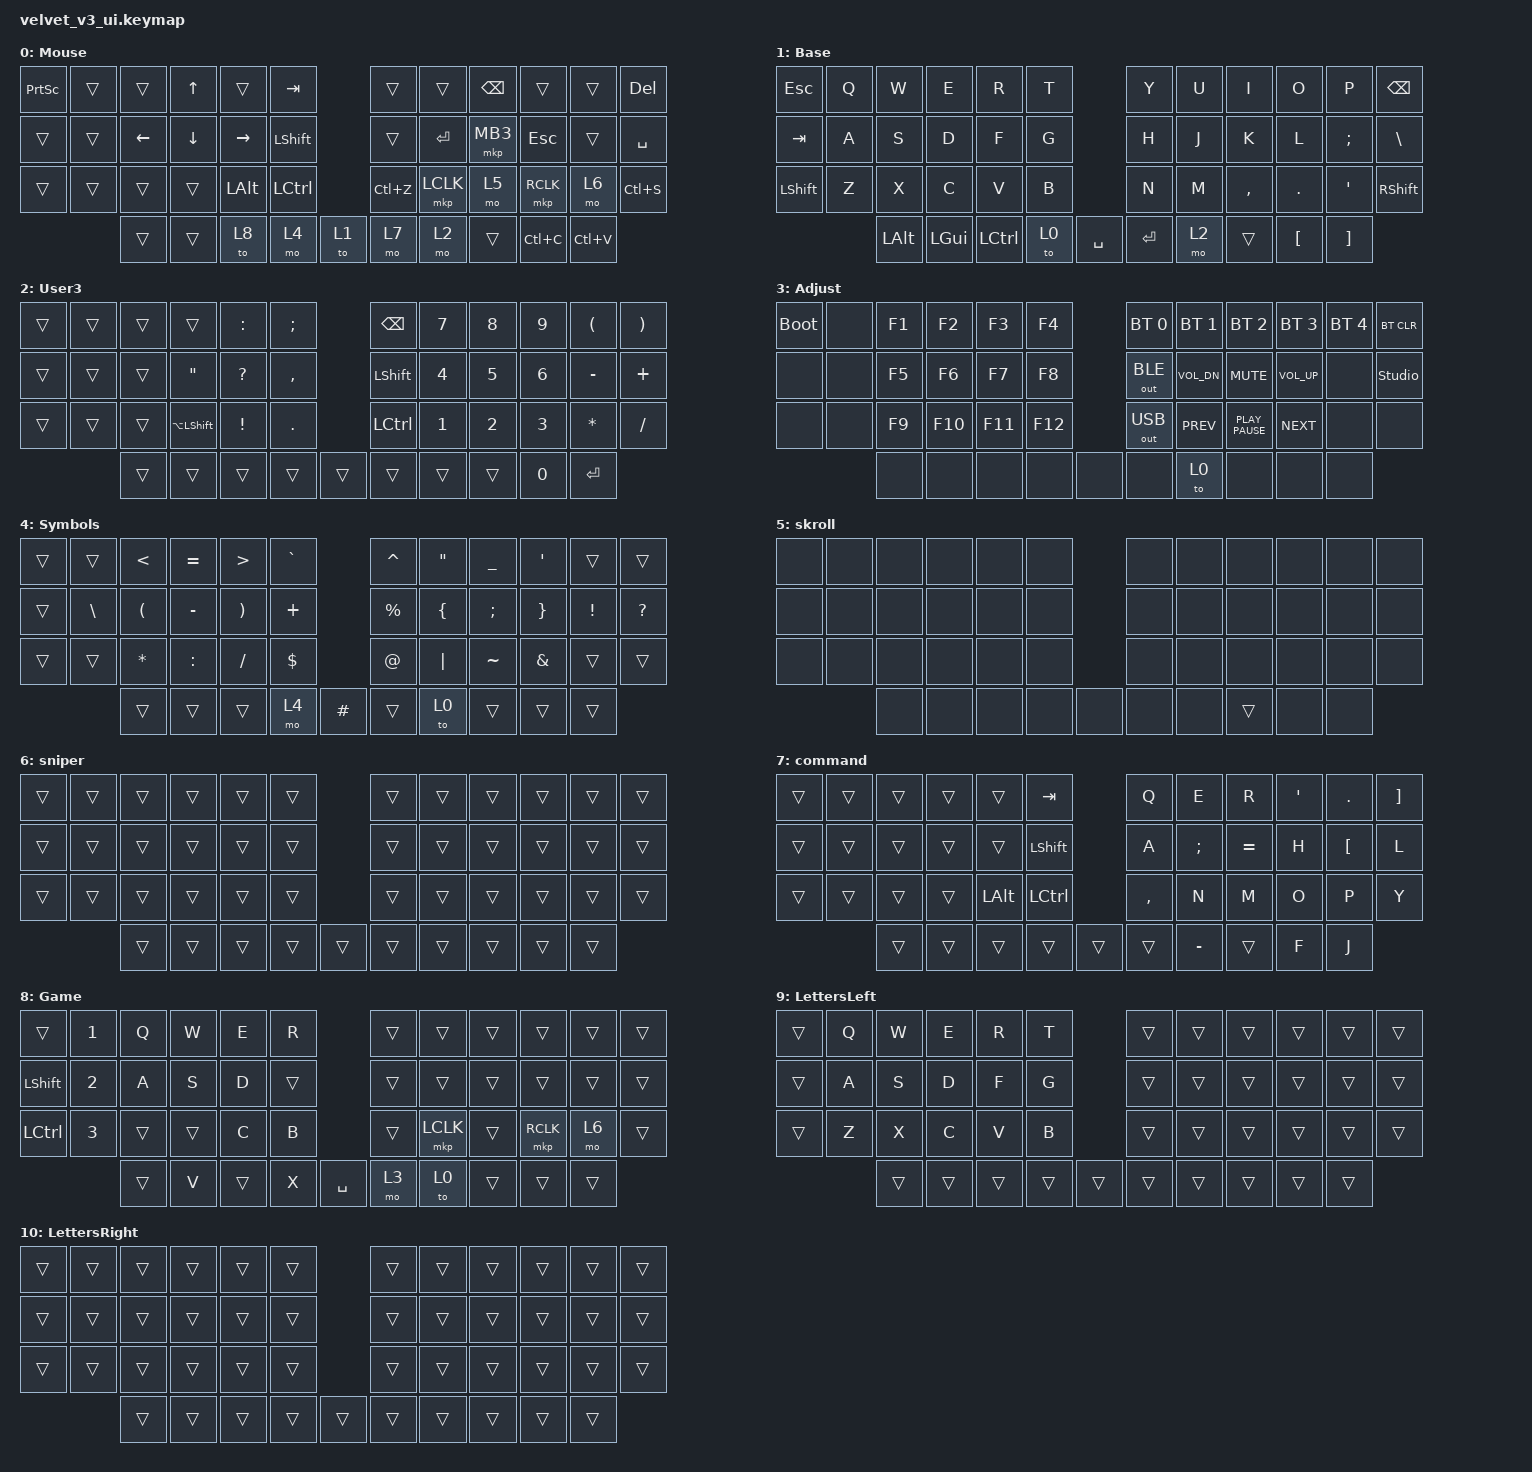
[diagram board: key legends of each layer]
#include "keys_ru.h"
#include <dt-bindings/zmk/input_transform.h>
#include <input/processors.dtsi>
#include <zephyr/dt-bindings/input/input-event-codes.h>
#include <behaviors.dtsi>
#include <dt-bindings/zmk/bt.h>
#include <dt-bindings/zmk/keys.h>
#include <dt-bindings/zmk/outputs.h>
#include <dt-bindings/zmk/pointing.h>

/ {
    behaviors {
        cap_sen: cap_sen {
            compatible = "zmk,behavior-hold-tap";
            label = "CAP_SEN";
            bindings = <&mo>, <&mkp>;

            #binding-cells = <2>;
            tapping-term-ms = <150>;
            hold-while-undecided;
        };
    };

    keymap {
        compatible = "zmk,keymap";

        mouse {
            bindings = <
&kp PRINTSCREEN  &trans  &trans          &kp UP          &trans           &kp TAB                         &trans     &trans     &kp BACKSPACE  &trans     &trans  &kp DELETE
&trans           &trans  &kp LEFT_ARROW  &kp DOWN_ARROW  &kp RIGHT_ARROW  &kp LEFT_SHIFT                  &trans     &kp ENTER  &mkp MB3       &kp ESC    &trans  &kp SPACE
&trans           &trans  &trans          &trans          &kp LEFT_ALT     &kp LCTRL                       &kp LC(Z)  &mkp LCLK  &mo 5          &mkp RCLK  &mo 6   &kp LC(S)
                         &trans          &trans          &to 8            &mo 4           &to 1    &mo 7  &mo 2      &trans     &kp LC(C)      &kp LC(V)
            >;

            display-name = "Mouse";
        };

        base {
            bindings = <
&kp ESC    &kp Q  &kp W     &kp E     &kp R      &kp T                        &kp Y  &kp U   &kp I      &kp O     &kp P     &kp BSPC
&kp TAB    &kp A  &kp S     &kp D     &kp F      &kp G                        &kp H  &kp J   &kp K      &kp L     &kp SEMI  &kp BSLH
&kp LSHFT  &kp Z  &kp X     &kp C     &kp V      &kp B                        &kp N  &kp M   &kp COMMA  &kp DOT   &kp SQT   &kp RSHFT
                  &kp LALT  &kp LGUI  &kp LCTRL  &to 0  &kp SPACE    &kp RET  &mo 2  &trans  &kp LBKT   &kp RBKT
            >;

            display-name = "Base";
        };

        Calculate {
            bindings = <
&trans  &trans  &trans  &trans              &kp COLON  &kp SEMI                     &kp BACKSPACE   &kp N7  &kp N8  &kp N9     &kp LEFT_PARENTHESIS  &kp RIGHT_PARENTHESIS
&trans  &trans  &trans  &kp DQT             &kp QMARK  &kp COMMA                    &kp LEFT_SHIFT  &kp N4  &kp N5  &kp N6     &kp MINUS             &kp PLUS
&trans  &trans  &trans  &kp LA(LEFT_SHIFT)  &kp EXCL   &kp DOT                      &kp LCTRL       &kp N1  &kp N2  &kp N3     &kp ASTERISK          &kp SLASH
                &trans  &trans              &trans     &trans     &trans    &trans  &trans          &trans  &kp N0  &kp ENTER
            >;

            display-name = "User3";
        };

        adj {
            bindings = <
&bootloader  &none  &kp F1  &kp F2   &kp F3   &kp F4                   &bt BT_SEL 0  &bt BT_SEL 1  &bt BT_SEL 2      &bt BT_SEL 3  &bt BT_SEL 4  &bt BT_CLR
&none        &none  &kp F5  &kp F6   &kp F7   &kp F8                   &out OUT_BLE  &kp C_VOL_DN  &kp K_MUTE        &kp C_VOL_UP  &none         &studio_unlock
&none        &none  &kp F9  &kp F10  &kp F11  &kp F12                  &out OUT_USB  &kp K_PREV    &kp K_PLAY_PAUSE  &kp K_NEXT    &none         &none
                    &none   &none    &none    &none    &none    &none  &to 0         &none         &none             &none
            >;

            display-name = "Adjust";
        };

        sym {
            bindings = <
&trans  &trans    &kp LT    &kp EQUAL  &kp GT    &kp GRAVE                      &kp CARET  &kp DQT   &kp UNDER  &kp SQT   &trans    &trans
&trans  &kp BSLH  &kp LPAR  &kp MINUS  &kp RPAR  &kp PLUS                       &kp PRCNT  &kp LBRC  &kp SEMI   &kp RBRC  &kp EXCL  &kp QUESTION
&trans  &trans    &kp STAR  &kp COLON  &kp FSLH  &kp DLLR                       &kp AT     &kp PIPE  &kp TILDE  &kp AMPS  &trans    &trans
                  &trans    &trans     &trans    &mo 4      &kp HASH    &trans  &to 0      &trans    &trans     &trans
            >;

            display-name = "Symbols";
        };

        skroll {
            bindings = <
&none  &none  &none  &none  &none  &none                  &none  &none   &none  &none  &none  &none
&none  &none  &none  &none  &none  &none                  &none  &none   &none  &none  &none  &none
&none  &none  &none  &none  &none  &none                  &none  &none   &none  &none  &none  &none
              &none  &none  &none  &none  &none    &none  &none  &trans  &none  &none
            >;
        };

        sniper {
            bindings = <
&trans  &trans  &trans  &trans  &trans  &trans                    &trans  &trans  &trans  &trans  &trans  &trans
&trans  &trans  &trans  &trans  &trans  &trans                    &trans  &trans  &trans  &trans  &trans  &trans
&trans  &trans  &trans  &trans  &trans  &trans                    &trans  &trans  &trans  &trans  &trans  &trans
                &trans  &trans  &trans  &trans  &trans    &trans  &trans  &trans  &trans  &trans
            >;
        };

        command {
            bindings = <
&trans  &trans  &trans  &trans  &trans        &kp TAB                           &kp Q      &kp E     &kp R      &kp SQT  &kp DOT           &kp RIGHT_BRACKET
&trans  &trans  &trans  &trans  &trans        &kp LEFT_SHIFT                    &kp A      &kp SEMI  &kp EQUAL  &kp H    &kp LEFT_BRACKET  &kp L
&trans  &trans  &trans  &trans  &kp LEFT_ALT  &kp LCTRL                         &kp COMMA  &kp N     &kp M      &kp O    &kp P             &kp Y
                &trans  &trans  &trans        &trans          &trans    &trans  &kp MINUS  &trans    &kp F      &kp J
            >;
        };

        Game {
            bindings = <
&trans          &kp N1        &kp Q   &kp W   &kp E   &kp R                       &trans  &trans     &trans  &trans     &trans  &trans
&kp LEFT_SHIFT  &kp N2        &kp A   &kp S   &kp D   &trans                      &trans  &trans     &trans  &trans     &trans  &trans
&kp LCTRL       &kp NUMBER_3  &trans  &trans  &kp C   &kp B                       &trans  &mkp LCLK  &trans  &mkp RCLK  &mo 6   &trans
                              &trans  &kp V   &trans  &kp X   &kp SPACE    &mo 3  &to 0   &trans     &trans  &trans
            >;
        };

        LettersLeft {
            bindings = <
&trans  &kp Q  &kp W   &kp E   &kp R   &kp T                     &trans  &trans  &trans  &trans  &trans  &trans
&trans  &kp A  &kp S   &kp D   &kp F   &kp G                     &trans  &trans  &trans  &trans  &trans  &trans
&trans  &kp Z  &kp X   &kp C   &kp V   &kp B                     &trans  &trans  &trans  &trans  &trans  &trans
               &trans  &trans  &trans  &trans  &trans    &trans  &trans  &trans  &trans  &trans
            >;
        };

        LettersRight {
            bindings = <
&trans  &trans  &trans  &trans  &trans  &trans                    &trans  &trans  &trans  &trans  &trans  &trans
&trans  &trans  &trans  &trans  &trans  &trans                    &trans  &trans  &trans  &trans  &trans  &trans
&trans  &trans  &trans  &trans  &trans  &trans                    &trans  &trans  &trans  &trans  &trans  &trans
                &trans  &trans  &trans  &trans  &trans    &trans  &trans  &trans  &trans  &trans
            >;
        };
    };
};

&trackball { cpi = <1200>; };

&trackball_listener {
    input-processors = <&zip_xy_scaler 9 20>;

    scroller {
        layers = <5>;
        input-processors =
            <&zip_xy_transform INPUT_TRANSFORM_Y_INVERT>,
            <&zip_xy_scaler 1 32>,
            <&zip_xy_to_scroll_mapper>;
    };

    sniper {
        layers = <6>;
        input-processors = <&zip_xy_scaler 1 8>;
    };
};
